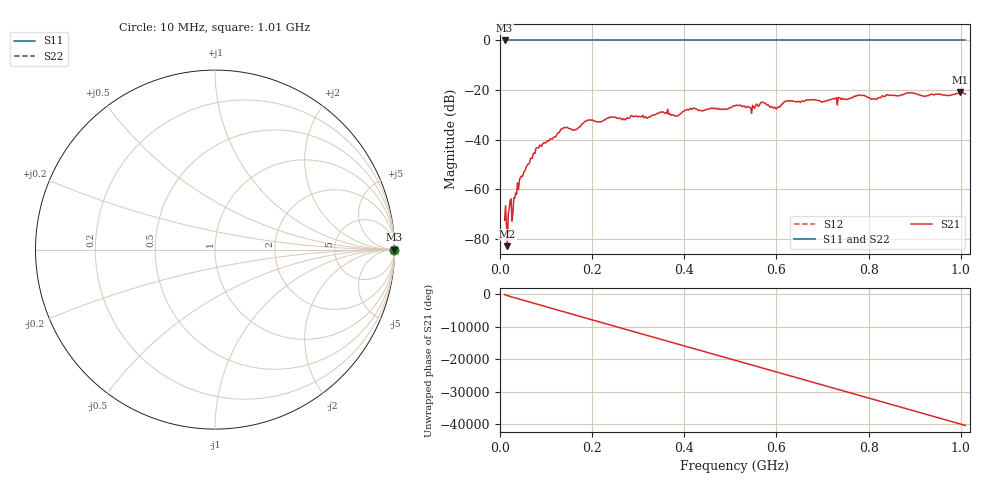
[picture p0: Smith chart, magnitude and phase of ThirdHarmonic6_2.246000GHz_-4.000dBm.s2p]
! 8/17/2025 2:39:49 AM
! C:\ANRITSUVNA\TEMP\TEMP.S2P
! CHANNEL.1
! TR.MEASUREMENT
! RAW.DATA
! RF.CORRECTION.OFF
! AVERAGING.OFF
! IF.BANDWIDTH: 5KHZ
! SWEEPTYPE:  FREQ.SWEEP(Linear)
! Reference Plane Port Info
! PORT:  PORT1  PORT2
! DISTANCE:  0  m  0  m
! TIME:  0  s  0  s
! PHASE.OFFSET:  0  deg.  0  deg.
! LOSS:  0  dB  0  dB
! REF.LOSS:  0  dB  0  dB
! REF.FREQ:  0  Hz  0  Hz
! Power Info
! POWER:  -20  dBm  -20  dBm
! EFF.POWER:  -20  dBm  -20  dBm
! SOURCE.ATTEN:  0  dB  0  dB
! TEST.ATTEN:  0  dB  0  dB
# GHZ S RI R 50.0
! FREQ.GHZ  S11RE  S11IM  S21RE  S21IM  S12RE  S12IM  S22RE  S22IM
!; PortSelection: Port_12
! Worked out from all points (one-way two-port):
!   501 points, 10 MHz to 1.01 GHz, reference 50 ohm
!   highest |S21| = -20.92 dB at 998 MHz (marker M1); lowest = -83.0 dB at 16 MHz (marker M2)
!   lowest |S11| = 0.0 dB at 10 MHz (marker M3)
!   |S11| at or under -10 dB: nowhere
!   |S22| runs from 0.0 to 0.0 dB; largest |S21 - S12| = 1.1
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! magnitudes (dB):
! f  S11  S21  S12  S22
! 10 MHz  0.0  -72.6  0.0  0.0
! 16 MHz  0.0  -83.0  0.0  0.0
! 22 MHz  0.0  -64.6  0.0  0.0
! 30 MHz  0.0  -63.5  0.0  0.0
! 34 MHz  0.0  -61.5  0.0  0.0
! 42 MHz  0.0  -56.7  0.0  0.0
! 82 MHz  0.0  -43.4  0.0  0.0
! 136 MHz  0.0  -35.6  0.0  0.0
! 162 MHz  0.0  -36.1  0.0  0.0
! 178 MHz  0.0  -33.7  0.0  0.0
! 344 MHz  0.0  -29.5  0.0  0.0
! 384 MHz  0.0  -30.5  0.0  0.0
! 416 MHz  0.0  -27.7  0.0  0.0
! 510 MHz  0.0  -26.3  0.0  0.0
! 548 MHz  0.0  -26.2  0.0  0.0
! 570 MHz  0.0  -24.9  0.0  0.0
! 598 MHz  0.0  -27.4  0.0  0.0
! 622 MHz  0.0  -24.5  0.0  0.0
! 678 MHz  0.0  -24.0  0.0  0.0
! 844 MHz  0.0  -22.2  0.0  0.0
! 998 MHz  0.0  -20.9  0.0  0.0
! 1.01 GHz  0.0  -21.6  0.0  0.0
